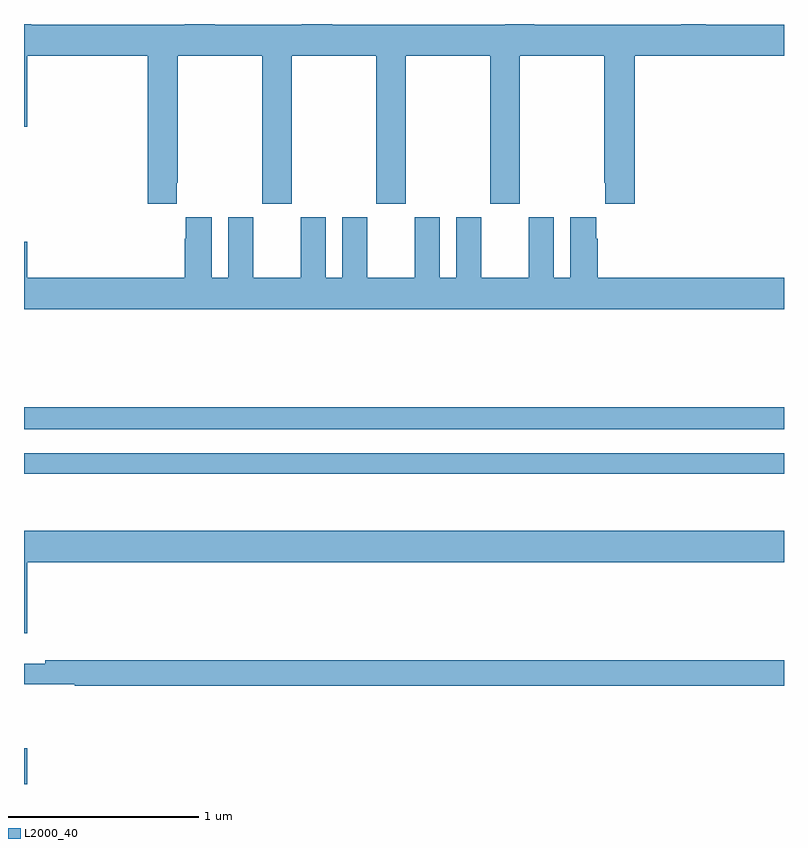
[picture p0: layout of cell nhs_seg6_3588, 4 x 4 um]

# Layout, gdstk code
import gdstk
lib = gdstk.Library(unit=1e-6, precision=1e-09)
def R(c, l, rs):  # rectangles x0, y0, x1, y1
    for r in rs: c.add(gdstk.rectangle(r[:2], r[2:], *l))
def P(c, l, *ps):  # polygons
    for p in ps: c.add(gdstk.Polygon(p, *l))
L2000_40 = (2000, 40)

nhs_seg6_3588 = lib.new_cell('nhs_seg6_3588')
R(nhs_seg6_3588, L2000_40, [(321,947.5,321.016,947.689), (321,949.134,325,949.242), (321,949.368,325,949.484)])
P(nhs_seg6_3588, L2000_40, [(321.805,950.665),(321.81,950.665),(321.81,951.332),(322.255,951.332),(322.255,950.553),(322.41,950.553),(322.41,951.332),(322.855,951.332),(322.855,950.553),(323.01,950.553),(323.01,951.332),(323.455,951.332),(323.455,950.553),(323.61,950.553),(323.61,951.332),(324.055,951.332),(324.055,950.665),(324.059,950.665),(324.059,950.553),(324.215,950.553),(324.215,951.332),(325,951.332),(325,951.496),(324.587,951.496),(324.587,951.5),(324.458,951.5),(324.458,951.496),(323.686,951.496),(323.686,951.5),(323.534,951.5),(323.534,951.496),(322.622,951.496),(322.622,951.5),(322.462,951.5),(322.462,951.496),(322.005,951.496),(322.005,951.5),(321.845,951.5),(321.845,951.496),(321.038,951.496),(321.038,951.5),(321,951.5),(321,950.958),(321.016,950.958),(321.016,951.332),(321.65,951.332),(321.65,950.553),(321.805,950.553)],
  [(325,950.164),(324.02,950.164),(324.02,950.369),(324.013,950.369),(324.013,950.482),(323.876,950.482),(323.876,950.164),(323.788,950.164),(323.788,950.482),(323.657,950.482),(323.657,950.164),(323.407,950.164),(323.407,950.482),(323.276,950.482),(323.276,950.164),(323.188,950.164),(323.188,950.482),(323.057,950.482),(323.057,950.164),(322.807,950.164),(322.807,950.482),(322.676,950.482),(322.676,950.164),(322.588,950.164),(322.588,950.482),(322.457,950.482),(322.457,950.164),(322.207,950.164),(322.207,950.482),(322.076,950.482),(322.076,950.164),(321.988,950.164),(321.988,950.482),(321.851,950.482),(321.851,950.369),(321.845,950.369),(321.845,950.164),(321.016,950.164),(321.016,950.353),(321,950.353),(321,950),(325,950)],
  [(321.016,948.668),(325,948.668),(325,948.832),(321,948.832),(321,948.294),(321.016,948.294)],
  [(325,948.152),(321.112,948.152),(321.112,948.133),(321,948.133),(321,948.024),(321.266,948.024),(321.266,948.016),(325,948.016)])

lib.write_gds('nhs_seg6_3588.gds')
